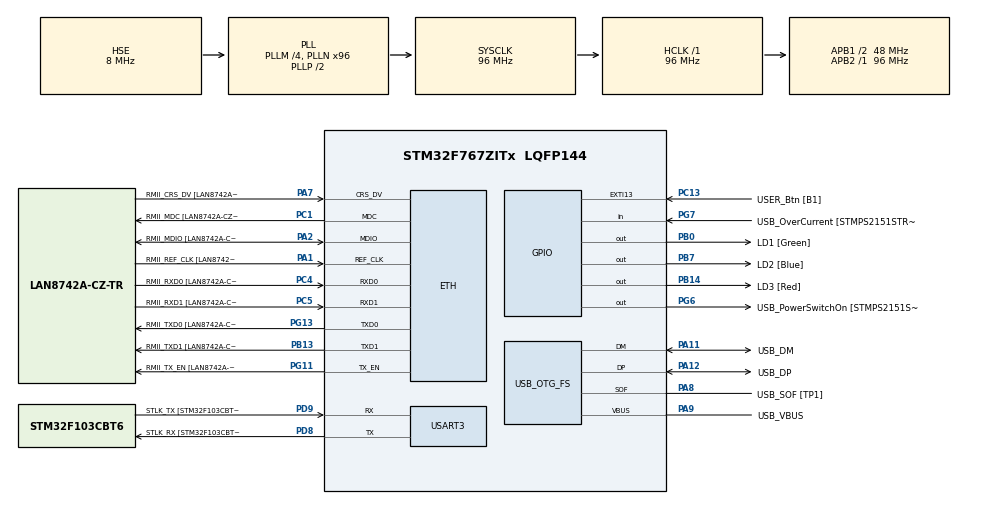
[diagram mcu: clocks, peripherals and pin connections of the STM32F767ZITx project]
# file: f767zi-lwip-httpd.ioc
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ETH.MediaInterface=HAL_ETH_RMII_MODE
ETH.PHY_Name=LAN8742A_PHY_ADDRESS
ETH.PHY_Value=0
ETH.PhyAddress=0
LWIP.BSP.number=1
LWIP.HTTPD_USE_CUSTOM_FSDATA=1
LWIP.LWIP_HTTPD=1
LWIP.LWIP_HTTPD_CGI=1
LWIP.LWIP_HTTPD_MAX_TAG_NAME_LEN=16
LWIP.LWIP_HTTPD_SSI=1
LWIP.Version=v2.1.2_Cube
LWIP0.BSP.STBoard=false
LWIP0.BSP.api=BSP_COMPONENT_DRIVER
LWIP0.BSP.component=LAN8742
LWIP0.BSP.instance=LAN8742
LWIP0.BSP.name=Driver_PHY
LWIP0.BSP.semaphore=S_LAN8742
LWIP0.BSP.solution=LAN8742
Mcu.Family=STM32F7
Mcu.Name=STM32F767ZITx
Mcu.Package=LQFP144
NVIC.PriorityGroup=NVIC_PRIORITYGROUP_4
PA1.GPIO_Label=RMII_REF_CLK [LAN8742A-CZ-TR_REFCLK0]
PA1.Mode=RMII
PA1.Signal=ETH_REF_CLK
PA10.GPIO_Label=USB_ID
PA10.Signal=USB_OTG_FS_ID
PA11.GPIO_Label=USB_DM
PA11.Mode=Device_Only
PA11.Signal=USB_OTG_FS_DM
PA12.GPIO_Label=USB_DP
PA12.Mode=Device_Only
PA12.Signal=USB_OTG_FS_DP
PA13.GPIO_Label=TMS
PA13.Mode=Serial_Wire
PA13.Signal=SYS_JTMS-SWDIO
PA14.GPIO_Label=TCK
PA14.Mode=Serial_Wire
PA14.Signal=SYS_JTCK-SWCLK
PA2.GPIO_Label=RMII_MDIO [LAN8742A-CZ-TR_MDIO]
PA2.Mode=RMII
PA2.Signal=ETH_MDIO
PA7.GPIO_Label=RMII_CRS_DV [LAN8742A-CZ-TR_CRS_DV]
PA7.Mode=RMII
PA7.Signal=ETH_CRS_DV
PA8.GPIO_Label=USB_SOF [TP1]
PA8.Mode=Activate_SOF_FS
PA8.Signal=USB_OTG_FS_SOF
PA9.GPIO_Label=USB_VBUS
PA9.Mode=Activate_VBUS
PA9.Signal=USB_OTG_FS_VBUS
PB0.GPIO_Label=LD1 [Green]
PB0.Signal=GPIO_Output
PB13.GPIO_Label=RMII_TXD1 [LAN8742A-CZ-TR_TXD1]
PB13.Mode=RMII
PB13.Signal=ETH_TXD1
PB14.GPIO_Label=LD3 [Red]
PB14.GPIO_PuPd=GPIO_PULLUP
PB14.Signal=GPIO_Output
PB3.GPIO_Label=SWO
PB3.Signal=SYS_JTDO-SWO
PB7.GPIO_Label=LD2 [Blue]
PB7.GPIO_PuPd=GPIO_PULLUP
PB7.Signal=GPIO_Output
PC1.GPIO_Label=RMII_MDC [LAN8742A-CZ-TR_MDC]
PC1.Mode=RMII
PC1.Signal=ETH_MDC
PC13.GPIO_Label=USER_Btn [B1]
PC13.Signal=GPXTI13
PC14/OSC32_IN.Mode=LSE-External-Oscillator
PC14/OSC32_IN.Signal=RCC_OSC32_IN
PC15/OSC32_OUT.Mode=LSE-External-Oscillator
PC15/OSC32_OUT.Signal=RCC_OSC32_OUT
PC4.GPIO_Label=RMII_RXD0 [LAN8742A-CZ-TR_RXD0]
PC4.Mode=RMII
PC4.Signal=ETH_RXD0
PC5.GPIO_Label=RMII_RXD1 [LAN8742A-CZ-TR_RXD1]
PC5.Mode=RMII
PC5.Signal=ETH_RXD1
PD8.GPIO_Label=STLK_RX [STM32F103CBT6_PA3]
PD8.Mode=Asynchronous
PD8.Signal=USART3_TX
PD9.GPIO_Label=STLK_TX [STM32F103CBT6_PA2]
PD9.Mode=Asynchronous
PD9.Signal=USART3_RX
PG11.GPIO_Label=RMII_TX_EN [LAN8742A-CZ-TR_TXEN]
PG11.Mode=RMII
PG11.Signal=ETH_TX_EN
PG13.GPIO_Label=RMII_TXD0 [LAN8742A-CZ-TR_TXD0]
PG13.Mode=RMII
PG13.Signal=ETH_TXD0
PG6.GPIO_Label=USB_PowerSwitchOn [STMPS2151STR_EN]
PG6.Signal=GPIO_Output
PG7.GPIO_Label=USB_OverCurrent [STMPS2151STR_FAULT]
PG7.Signal=GPIO_Input
PH0/OSC_IN.GPIO_Label=MCO [STM32F103CBT6_PA8]
PH0/OSC_IN.Mode=HSE-External-Clock-Source
PH0/OSC_IN.Signal=RCC_OSC_IN
PH1/OSC_OUT.Mode=HSE-External-Clock-Source
PH1/OSC_OUT.Signal=RCC_OSC_OUT
ProjectManager.HeapSize=0x200
ProjectManager.StackSize=0x400
ProjectManager.TargetToolchain=STM32CubeIDE
RCC.48MHZClocksFreq_Value=24000000
RCC.AHBFreq_Value=96000000
RCC.APB1CLKDivider=RCC_HCLK_DIV2
RCC.APB1Freq_Value=48000000
RCC.APB1TimFreq_Value=96000000
RCC.APB2Freq_Value=96000000
RCC.APB2TimFreq_Value=96000000
RCC.CortexFreq_Value=96000000
RCC.HCLKFreq_Value=96000000
RCC.HSE_VALUE=8000000
RCC.HSI_VALUE=16000000
RCC.PLLM=4
RCC.PLLMUL=RCC_PLL_MUL9
RCC.PLLN=96
RCC.PLLQ=4
RCC.PRESCALERUSB=RCC_USBCLKSOURCE_PLL_DIV1_5
RCC.SYSCLKFreq_VALUE=96000000
RCC.SYSCLKSource=RCC_SYSCLKSOURCE_PLLCLK
RCC.SYSCLKSourceVirtual=RCC_SYSCLKSOURCE_PLLCLK
RCC.USBFreq_Value=48000000
RCC.VCOOutputFreq_Value=192000000
USART3.VirtualMode-Asynchronous=VM_ASYNC
USB_OTG_FS.VirtualMode=Device_Only
VP_LWIP_VS_Enabled.Mode=Enabled
board=NUCLEO-F767ZI

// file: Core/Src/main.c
/* USER CODE BEGIN Header */
/**
  ******************************************************************************
  * @file           : main.c
  * @brief          : Main program body
  ******************************************************************************
  * @attention
  *
  * Copyright (c) 2025 STMicroelectronics.
  * All rights reserved.
  *
  * This software is licensed under terms that can be found in the LICENSE file
  * in the root directory of this software component.
  * If no LICENSE file comes with this software, it is provided AS-IS.
  *
  ******************************************************************************
  */
/* USER CODE END Header */
#include "main.h"
#include "lwip.h"

/* USER CODE BEGIN Includes */
// include httpd from lwip
#include "lwip/apps/httpd.h"

// include string.h for strcmp
#include <string.h>

#include <stdbool.h>

bool LD1_ON = false;
bool LD2_ON = false;

/* USER CODE END Includes */

UART_HandleTypeDef huart3;

PCD_HandleTypeDef hpcd_USB_OTG_FS;

/* USER CODE BEGIN PV */
// declate cgi handler function for leds #2
const char* LED_CGI_HANDLER(int index, int num_params, char* pc_params[], char* pc_values[]);

// set path /leds.cgi with handler #3
const tCGI led_cgi = {"/leds.cgi", LED_CGI_HANDLER};

// cgi #4
tCGI cgi_table[1];

// declare handler method #1
u16_t MY_SSI_HANDLER(int index, char* pc_insert, char* insert_len);

// delcare num of ssi tags #2
#define NUM_SSI_TAGS 2

// declare tags #3
char const *ssi_tags[NUM_SSI_TAGS] = {
		"tag1",
		"tag2"
};

/* USER CODE END PV */

void SystemClock_Config(void);
static void MX_GPIO_Init(void);
static void MX_USART3_UART_Init(void);
static void MX_USB_OTG_FS_PCD_Init(void);

/* USER CODE BEGIN 0 */

// actual cgi handler function #5
const char* LED_CGI_HANDLER(int index, int num_params, char* pc_params[], char* pc_values[])
{

	uint32_t i = 0;

	if(index == 0) {

		HAL_GPIO_WritePin(LD2_GPIO_Port, LD2_Pin, GPIO_PIN_RESET);
		HAL_GPIO_WritePin(LD3_GPIO_Port, LD3_Pin, GPIO_PIN_RESET);

	}

	for(i = 0; i < num_params; i++) {
		if(strcmp(pc_params[i], "led") == 0) {
			if(strcmp(pc_values[i], "1") == 0) {
				HAL_GPIO_WritePin(LD3_GPIO_Port, LD3_Pin, GPIO_PIN_SET);
			} else if(strcmp(pc_values[i], "2") == 0) {
				HAL_GPIO_WritePin(LD2_GPIO_Port, LD2_Pin, GPIO_PIN_SET);
			}
		}
	}
	return "/index.shtml";

} // end #5

// init cgi handler #6
void MY_CGI_INIT(void)
{
	cgi_table[0] = led_cgi;
	http_set_cgi_handlers(cgi_table, 1);
} // end #6

// function for ssi handler #4
u16_t MY_SSI_HANDLER(int index, char* pc_insert, char* insert_len)
{
	if(index == 0) {
		// return length of string
		if(!LD1_ON) {
			char my_str[] = "<input value=\"1\" type=\"checkbox\" name=\"led\">";
			strcpy(pc_insert, my_str);
			return strlen(my_str);

		} else if(LD1_ON){
			char my_str[] = "<input value=\"1\" type=\"checkbox\" name=\"led\" checked>";
			strcpy(pc_insert, my_str);
			return strlen(my_str);
		}
	} else if(index == 1){
		if(!LD2_ON) {
			char my_str[] = "<input value=\"2\" type=\"checkbox\" name=\"led\">";
				strcpy(pc_insert, my_str);
				return strlen(my_str);

			} else if(LD2_ON){
				char my_str[] = "<input value=\"2\" type=\"checkbox\" name=\"led\" checked>";
				strcpy(pc_insert, my_str);
				return strlen(my_str);
			}
	}
} // end #7

// function to init ssi #5
void MY_SSI_INIT(void){
	http_set_ssi_handler(MY_SSI_HANDLER, (char const **) ssi_tags, NUM_SSI_TAGS);
}

/* USER CODE END 0 */

int main(void)
{

  /* MCU Configuration--------------------------------------------------------*/

  /* Reset of all peripherals, Initializes the Flash interface and the Systick. */
  HAL_Init();

  /* Configure the system clock */
  SystemClock_Config();

  /* Initialize all configured peripherals */
  MX_GPIO_Init();
  MX_USART3_UART_Init();
  MX_USB_OTG_FS_PCD_Init();
  MX_LWIP_Init();
  /* USER CODE BEGIN 2 */

  httpd_init();
  MY_CGI_INIT();
  MY_SSI_INIT();
  /* USER CODE END 2 */

  /* Infinite loop */
  /* USER CODE BEGIN WHILE */
  while (1)
  {
	  MX_LWIP_Process();
    /* USER CODE END WHILE */

  }
}

void SystemClock_Config(void)
{
  RCC_OscInitTypeDef RCC_OscInitStruct = {0};
  RCC_ClkInitTypeDef RCC_ClkInitStruct = {0};

  /** Configure LSE Drive Capability
  */
  HAL_PWR_EnableBkUpAccess();

  /** Configure the main internal regulator output voltage
  */
  __HAL_RCC_PWR_CLK_ENABLE();
  __HAL_PWR_VOLTAGESCALING_CONFIG(PWR_REGULATOR_VOLTAGE_SCALE3);

  /** Initializes the RCC Oscillators according to the specified parameters
  * in the RCC_OscInitTypeDef structure.
  */
  RCC_OscInitStruct.OscillatorType = RCC_OSCILLATORTYPE_HSE;
  RCC_OscInitStruct.HSEState = RCC_HSE_BYPASS;
  RCC_OscInitStruct.PLL.PLLState = RCC_PLL_ON;
  RCC_OscInitStruct.PLL.PLLSource = RCC_PLLSOURCE_HSE;
  RCC_OscInitStruct.PLL.PLLM = 4;
  RCC_OscInitStruct.PLL.PLLN = 96;
  RCC_OscInitStruct.PLL.PLLP = RCC_PLLP_DIV2;
  RCC_OscInitStruct.PLL.PLLQ = 4;
  RCC_OscInitStruct.PLL.PLLR = 2;
  if (HAL_RCC_OscConfig(&RCC_OscInitStruct) != HAL_OK)
  {
    Error_Handler();
  }

  /** Activate the Over-Drive mode
  */
  if (HAL_PWREx_EnableOverDrive() != HAL_OK)
  {
    Error_Handler();
  }

  /** Initializes the CPU, AHB and APB buses clocks
  */
  RCC_ClkInitStruct.ClockType = RCC_CLOCKTYPE_HCLK|RCC_CLOCKTYPE_SYSCLK
                              |RCC_CLOCKTYPE_PCLK1|RCC_CLOCKTYPE_PCLK2;
  RCC_ClkInitStruct.SYSCLKSource = RCC_SYSCLKSOURCE_PLLCLK;
  RCC_ClkInitStruct.AHBCLKDivider = RCC_SYSCLK_DIV1;
  RCC_ClkInitStruct.APB1CLKDivider = RCC_HCLK_DIV2;
  RCC_ClkInitStruct.APB2CLKDivider = RCC_HCLK_DIV1;

  if (HAL_RCC_ClockConfig(&RCC_ClkInitStruct, FLASH_LATENCY_3) != HAL_OK)
  {
    Error_Handler();
  }
}

static void MX_USART3_UART_Init(void)
{

  huart3.Instance = USART3;
  huart3.Init.BaudRate = 115200;
  huart3.Init.WordLength = UART_WORDLENGTH_8B;
  huart3.Init.StopBits = UART_STOPBITS_1;
  huart3.Init.Parity = UART_PARITY_NONE;
  huart3.Init.Mode = UART_MODE_TX_RX;
  huart3.Init.HwFlowCtl = UART_HWCONTROL_NONE;
  huart3.Init.OverSampling = UART_OVERSAMPLING_16;
  huart3.Init.OneBitSampling = UART_ONE_BIT_SAMPLE_DISABLE;
  huart3.AdvancedInit.AdvFeatureInit = UART_ADVFEATURE_NO_INIT;
  if (HAL_UART_Init(&huart3) != HAL_OK)
  {
    Error_Handler();
  }

}

static void MX_USB_OTG_FS_PCD_Init(void)
{

  hpcd_USB_OTG_FS.Instance = USB_OTG_FS;
  hpcd_USB_OTG_FS.Init.dev_endpoints = 6;
  hpcd_USB_OTG_FS.Init.speed = PCD_SPEED_FULL;
  hpcd_USB_OTG_FS.Init.dma_enable = DISABLE;
  hpcd_USB_OTG_FS.Init.phy_itface = PCD_PHY_EMBEDDED;
  hpcd_USB_OTG_FS.Init.Sof_enable = ENABLE;
  hpcd_USB_OTG_FS.Init.low_power_enable = DISABLE;
  hpcd_USB_OTG_FS.Init.lpm_enable = DISABLE;
  hpcd_USB_OTG_FS.Init.vbus_sensing_enable = ENABLE;
  hpcd_USB_OTG_FS.Init.use_dedicated_ep1 = DISABLE;
  if (HAL_PCD_Init(&hpcd_USB_OTG_FS) != HAL_OK)
  {
    Error_Handler();
  }

}

static void MX_GPIO_Init(void)
{
  GPIO_InitTypeDef GPIO_InitStruct = {0};

  /* GPIO Ports Clock Enable */
  __HAL_RCC_GPIOC_CLK_ENABLE();
  __HAL_RCC_GPIOH_CLK_ENABLE();
  __HAL_RCC_GPIOA_CLK_ENABLE();
  __HAL_RCC_GPIOB_CLK_ENABLE();
  __HAL_RCC_GPIOD_CLK_ENABLE();
  __HAL_RCC_GPIOG_CLK_ENABLE();

  /*Configure GPIO pin Output Level */
  HAL_GPIO_WritePin(GPIOB, LD1_Pin|LD3_Pin|LD2_Pin, GPIO_PIN_RESET);

  /*Configure GPIO pin Output Level */
  HAL_GPIO_WritePin(USB_PowerSwitchOn_GPIO_Port, USB_PowerSwitchOn_Pin, GPIO_PIN_RESET);

  /*Configure GPIO pin : USER_Btn_Pin */
  GPIO_InitStruct.Pin = USER_Btn_Pin;
  GPIO_InitStruct.Mode = GPIO_MODE_IT_RISING;
  GPIO_InitStruct.Pull = GPIO_NOPULL;
  HAL_GPIO_Init(USER_Btn_GPIO_Port, &GPIO_InitStruct);

  /*Configure GPIO pin : LD1_Pin */
  GPIO_InitStruct.Pin = LD1_Pin;
  GPIO_InitStruct.Mode = GPIO_MODE_OUTPUT_PP;
  GPIO_InitStruct.Pull = GPIO_NOPULL;
  GPIO_InitStruct.Speed = GPIO_SPEED_FREQ_LOW;
  HAL_GPIO_Init(LD1_GPIO_Port, &GPIO_InitStruct);

  /*Configure GPIO pins : LD3_Pin LD2_Pin */
  GPIO_InitStruct.Pin = LD3_Pin|LD2_Pin;
  GPIO_InitStruct.Mode = GPIO_MODE_OUTPUT_PP;
  GPIO_InitStruct.Pull = GPIO_PULLUP;
  GPIO_InitStruct.Speed = GPIO_SPEED_FREQ_LOW;
  HAL_GPIO_Init(GPIOB, &GPIO_InitStruct);

  /*Configure GPIO pin : USB_PowerSwitchOn_Pin */
  GPIO_InitStruct.Pin = USB_PowerSwitchOn_Pin;
  GPIO_InitStruct.Mode = GPIO_MODE_OUTPUT_PP;
  GPIO_InitStruct.Pull = GPIO_NOPULL;
  GPIO_InitStruct.Speed = GPIO_SPEED_FREQ_LOW;
  HAL_GPIO_Init(USB_PowerSwitchOn_GPIO_Port, &GPIO_InitStruct);

  /*Configure GPIO pin : USB_OverCurrent_Pin */
  GPIO_InitStruct.Pin = USB_OverCurrent_Pin;
  GPIO_InitStruct.Mode = GPIO_MODE_INPUT;
  GPIO_InitStruct.Pull = GPIO_NOPULL;
  HAL_GPIO_Init(USB_OverCurrent_GPIO_Port, &GPIO_InitStruct);

}

void Error_Handler(void)
{
  __disable_irq();
  while (1)
  {
  }
}
